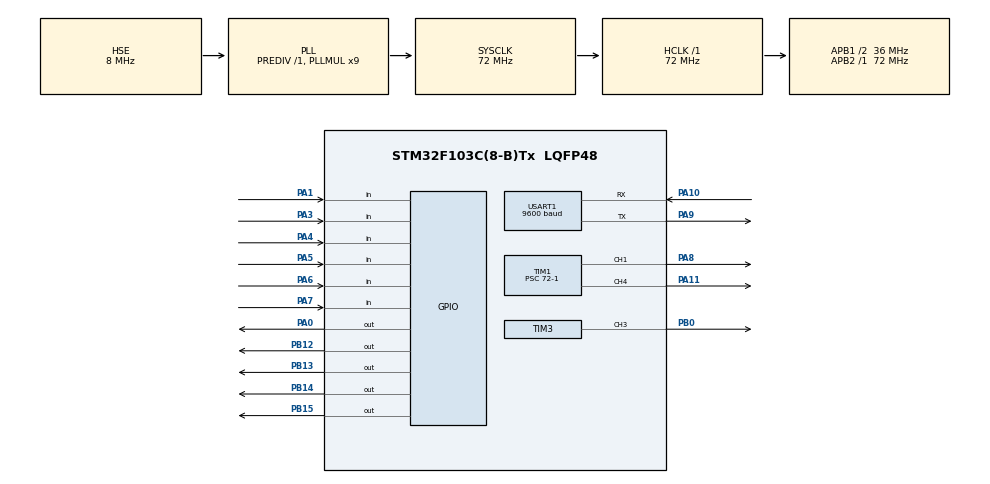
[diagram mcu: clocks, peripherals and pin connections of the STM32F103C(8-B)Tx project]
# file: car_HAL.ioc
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Mcu.Family=STM32F1
Mcu.Name=STM32F103C(8-B)Tx
Mcu.Package=LQFP48
NVIC.PriorityGroup=NVIC_PRIORITYGROUP_4
NVIC.USART1_IRQn=true\:0\:0\:false\:false\:true\:true\:true\:true
PA0-WKUP.Signal=GPIO_Output
PA1.GPIO_PuPd=GPIO_PULLDOWN
PA1.Signal=GPIO_Input
PA10.Mode=Asynchronous
PA10.Signal=USART1_RX
PA11.Signal=S_TIM1_CH4
PA13.Mode=Serial_Wire
PA13.Signal=SYS_JTMS-SWDIO
PA14.Mode=Serial_Wire
PA14.Signal=SYS_JTCK-SWCLK
PA3.GPIO_PuPd=GPIO_PULLUP
PA3.Signal=GPIO_Input
PA4.GPIO_PuPd=GPIO_PULLUP
PA4.Signal=GPIO_Input
PA5.Signal=GPIO_Input
PA6.GPIO_PuPd=GPIO_PULLUP
PA6.Signal=GPIO_Input
PA7.GPIO_PuPd=GPIO_PULLUP
PA7.Signal=GPIO_Input
PA8.Signal=S_TIM1_CH1
PA9.Mode=Asynchronous
PA9.Signal=USART1_TX
PB0.Signal=S_TIM3_CH3
PB12.GPIO_ModeDefaultOutputPP=GPIO_MODE_OUTPUT_PP
PB12.PinState=GPIO_PIN_SET
PB12.Signal=GPIO_Output
PB13.Signal=GPIO_Output
PB14.GPIO_ModeDefaultOutputPP=GPIO_MODE_OUTPUT_PP
PB14.PinState=GPIO_PIN_SET
PB14.Signal=GPIO_Output
PB15.GPIO_ModeDefaultOutputPP=GPIO_MODE_OUTPUT_PP
PB15.PinState=GPIO_PIN_SET
PB15.Signal=GPIO_Output
PD0-OSC_IN.Mode=HSE-External-Oscillator
PD0-OSC_IN.Signal=RCC_OSC_IN
PD1-OSC_OUT.Mode=HSE-External-Oscillator
PD1-OSC_OUT.Signal=RCC_OSC_OUT
ProjectManager.HeapSize=0x200
ProjectManager.StackSize=0x400
ProjectManager.TargetToolchain=MDK-ARM V5.32
RCC.AHBFreq_Value=72000000
RCC.APB1CLKDivider=RCC_HCLK_DIV2
RCC.APB1Freq_Value=36000000
RCC.APB1TimFreq_Value=72000000
RCC.APB2Freq_Value=72000000
RCC.APB2TimFreq_Value=72000000
RCC.HCLKFreq_Value=72000000
RCC.PLLMUL=RCC_PLL_MUL9
RCC.PLLSourceVirtual=RCC_PLLSOURCE_HSE
RCC.SYSCLKFreq_VALUE=72000000
RCC.SYSCLKSource=RCC_SYSCLKSOURCE_PLLCLK
RCC.USBFreq_Value=72000000
SH.S_TIM1_CH1.0=TIM1_CH1,PWM Generation1 CH1
SH.S_TIM1_CH4.0=TIM1_CH4,PWM Generation4 CH4
SH.S_TIM3_CH3.0=TIM3_CH3,PWM Generation3 CH3
TIM1.Channel-PWM\ Generation1\ CH1=TIM_CHANNEL_1
TIM1.Channel-PWM\ Generation4\ CH4=TIM_CHANNEL_4
TIM1.Period=100-1
TIM1.Prescaler=72-1
TIM2.Period=65535
TIM2.Prescaler=72-1
TIM3.Channel-PWM\ Generation3\ CH3=TIM_CHANNEL_3
TIM3.Period=20000-1
TIM3.Prescaler=72-1
USART1.BaudRate=9600
USART1.VirtualMode=VM_ASYNC
VP_TIM1_VS_ClockSourceINT.Mode=Internal
VP_TIM2_VS_ClockSourceINT.Mode=Internal
VP_TIM3_VS_ClockSourceINT.Mode=Internal
board=custom

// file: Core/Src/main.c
/* USER CODE BEGIN Header */
/**
  ******************************************************************************
  * @file           : main.c
  * @brief          : Main program body
  ******************************************************************************
  * @attention
  *
  * Copyright (c) 2025 STMicroelectronics.
  * All rights reserved.
  *
  * This software is licensed under terms that can be found in the LICENSE file
  * in the root directory of this software component.
  * If no LICENSE file comes with this software, it is provided AS-IS.
  *
  ******************************************************************************
  */
/* USER CODE END Header */
#include "main.h"
#include "tim.h"
#include "usart.h"
#include "gpio.h"

/* USER CODE BEGIN Includes */
#include "TB6612.h"
#include "Track.h"
#include "Ultrasound.h"
#include "Servo.h"
#include "oled.h"
#include "string.h"
/* USER CODE END Includes */

/* USER CODE BEGIN PV */
uint8_t mode;		// 0-蓝牙 1-自动避障 2-循迹
char data;
uint8_t rx_flag;
float distance;
uint8_t sensorPattern;
char message[16];
uint8_t mode2_state;
uint8_t area,last_area;
/* USER CODE END PV */

void SystemClock_Config(void);

/* USER CODE BEGIN 0 */
void OLED_Show(void);
/* USER CODE END 0 */

int main(void)
{

  /* MCU Configuration--------------------------------------------------------*/

  /* Reset of all peripherals, Initializes the Flash interface and the Systick. */
  HAL_Init();

  /* Configure the system clock */
  SystemClock_Config();

  /* Initialize all configured peripherals */
  MX_GPIO_Init();
  MX_USART1_UART_Init();
  MX_TIM1_Init();
  MX_TIM2_Init();
  MX_TIM3_Init();
  /* USER CODE BEGIN 2 */
    HAL_UART_Receive_IT(&huart1,(uint8_t *)&data,1);
	OLED_Init();
	TB6612_Init();
	Servo_Init();
	Set_Angle(90);
	mode = 2;
  /* USER CODE END 2 */

  /* Infinite loop */
  while (1)
  {

    /* USER CODE BEGIN 3 */

	  //OLED显示部分
	  OLED_Show();

	  //蓝牙模式
	  if(mode == 0)
	  {
		  if(rx_flag)
		  {
			rx_flag = 0;
			if(data == '0')			TB6612_SetPWM(20,20);		//前进
			else if(data == '1')	TB6612_SetPWM(-20,-20);		//后退
			else if(data == '2')	TB6612_SetPWM(20,50);		//左转
			else if(data == '3')	TB6612_SetPWM(50,20);		//右转
			else if(data == '4')	TB6612_SetPWM(-20,20);		//原地左转
			else if(data == '5')	TB6612_SetPWM(20,-20);		//原地右转
			else if(data == '6')	TB6612_SetPWM(0,0);		//刹车
		  }
	  }

	  //自动避障模式
	  else if(mode == 1)
	  {
		  switch(mode2_state)
		  {
			  case 0:
				  distance = Ultrasound_Get_Distance();//获取距离
				  if(distance >= 5.0f)	TB6612_SetPWM(15,15);//前方无障碍物,直走
				  else	//前方有障碍物
				  {
					  TB6612_SetPWM(0,0);//停车
					  Set_Angle(180);//先向左观察
					  HAL_Delay(400);
					  distance = Ultrasound_Get_Distance();
					  if(distance >= 15.0f)//左边无障碍物,原地左转90°调整方向
					  {
						Set_Angle(90);
						HAL_Delay(400);
						TB6612_SetPWM(-40,40);
						HAL_Delay(500);
						TB6612_SetPWM(0,0);
					  }
					  else//左方有障碍物
					  {
						  TB6612_SetPWM(0,0);//停车
						  Set_Angle(0);//向右观察
						  HAL_Delay(400);
						  distance = Ultrasound_Get_Distance();
						  if(distance >= 15.0f) //右边无障碍物,原地右转90°调整方向
						  {
							Set_Angle(90);
							HAL_Delay(400);
							TB6612_SetPWM(40,-40);
							HAL_Delay(500);
							TB6612_SetPWM(0,0);
						  }
						  else//右方有障碍物 ---> 左中右都有障碍物
						  {
							  Set_Angle(90);//舵机复位
							  HAL_Delay(400);
							  mode2_state = 1;//进入原地等待状态
						  }
					  }
				  }
				  break;
			  case 1:
				  //原地停车,等待前方障碍物移走
				  TB6612_SetPWM(0,0);
				  distance = Ultrasound_Get_Distance();
				  if(distance >= 5.0f)
				  {
					mode2_state = 0;
				  }
				  break;
			  default:
				  break;
		  }
		  HAL_Delay(100);
	  }
	  //循迹模式
	  else if(mode == 2)
	  {
		sensorPattern = Track_Read();
		switch (sensorPattern)
		{
			//----- 基础模式 -----
			case 0x1B: // 0b11011 直线
				TB6612_SetPWM(15,15);
				break;

			//----- 小幅度修正 -----
			case 0x13: // 0b10011 左小转
				TB6612_SetPWM(0,40);
				area = 1;
				break;
			case 0x19: // 0b11001 右小转
				TB6612_SetPWM(40,0);
			    area = 2;
				break;

			//----- 小幅度修正 -----
			case 0x17: // 0b10111 左中转
				TB6612_SetPWM(0,50);//40
				area = 3;
				break;
			case 0x1D: // 0b11101 右中转
				TB6612_SetPWM(50,0);//40
			    area = 4;
				break;

			//----- 中幅度修正 -----
			case 0x07: // 0b00111 左大转
				TB6612_SetPWM(-15,50);
				area = 5;
				break;
			case 0x1C: // 0b11100 右大转
				TB6612_SetPWM(50,-15);
			    area = 6;
				break;

			//----- 大幅度修正 -----
			case 0x0F: // 0b01111 左急转
				TB6612_SetPWM(-25,50);
				area = 7;
				break;
			case 0x1E: // 0b11110 右急转
				TB6612_SetPWM(50,-25);
			    area = 8;
				break;

			//----- 全白处理 -----
			case 0x1F: // 0b11111 全白
				if(last_area == 2)
				{
					TB6612_SetPWM(30,0);
				}
				else if(last_area == 1)
				{
					TB6612_SetPWM(0,30);
				}
				else
				{
					TB6612_SetPWM(0,0);
				}
				break;

			//----- 连续偏转 -----
			//左连续偏转
			case 0x03: // 0b00011
			case 0x05: // 0b00101
				TB6612_SetPWM(-30,40);//-15
				area = 9;
				break;
			//右连续偏转
			case 0x18: // 0b11000
			case 0x1A: // 0b11010
				TB6612_SetPWM(40,-30);
				area = 10;
				break;

			//----- 默认处理 -----
			default:
				TB6612_SetPWM(0,0);
				break;
		}
		last_area = area;
		HAL_Delay(20);
	  }
  }
  /* USER CODE END 3 */
}

void SystemClock_Config(void)
{
  RCC_OscInitTypeDef RCC_OscInitStruct = {0};
  RCC_ClkInitTypeDef RCC_ClkInitStruct = {0};

  /** Initializes the RCC Oscillators according to the specified parameters
  * in the RCC_OscInitTypeDef structure.
  */
  RCC_OscInitStruct.OscillatorType = RCC_OSCILLATORTYPE_HSE;
  RCC_OscInitStruct.HSEState = RCC_HSE_ON;
  RCC_OscInitStruct.HSEPredivValue = RCC_HSE_PREDIV_DIV1;
  RCC_OscInitStruct.HSIState = RCC_HSI_ON;
  RCC_OscInitStruct.PLL.PLLState = RCC_PLL_ON;
  RCC_OscInitStruct.PLL.PLLSource = RCC_PLLSOURCE_HSE;
  RCC_OscInitStruct.PLL.PLLMUL = RCC_PLL_MUL9;
  if (HAL_RCC_OscConfig(&RCC_OscInitStruct) != HAL_OK)
  {
    Error_Handler();
  }

  /** Initializes the CPU, AHB and APB buses clocks
  */
  RCC_ClkInitStruct.ClockType = RCC_CLOCKTYPE_HCLK|RCC_CLOCKTYPE_SYSCLK
                              |RCC_CLOCKTYPE_PCLK1|RCC_CLOCKTYPE_PCLK2;
  RCC_ClkInitStruct.SYSCLKSource = RCC_SYSCLKSOURCE_PLLCLK;
  RCC_ClkInitStruct.AHBCLKDivider = RCC_SYSCLK_DIV1;
  RCC_ClkInitStruct.APB1CLKDivider = RCC_HCLK_DIV2;
  RCC_ClkInitStruct.APB2CLKDivider = RCC_HCLK_DIV1;

  if (HAL_RCC_ClockConfig(&RCC_ClkInitStruct, FLASH_LATENCY_2) != HAL_OK)
  {
    Error_Handler();
  }
}

/* USER CODE BEGIN 4 */
void HAL_UART_RxCpltCallback(UART_HandleTypeDef *huart)
{
	if(huart == &huart1)
	{
		//模式切换指令
		if(data - '0' >= 7)
		{
			if(data == '7')						mode = 0;
			else if(data == '8')				mode = 1;
			else if(data == '9')				mode = 2;
			OLED_Clear();//每次切换模式要清屏显示
		}
		else	//行进方向指令
		{
			//确保在蓝牙模式下才能无线控制小车
			if(mode == 0)	rx_flag = 1;	//接收标志位置1,在while中处理
		}
		HAL_UART_Receive_IT(&huart1,(uint8_t *)&data,1);
	}
}

void OLED_Show(void)
{
	OLED_ShowString(0,0,(uint8_t *)"mode:",16,1);
	if(mode == 0)
	{
		OLED_ShowString(40,0,(uint8_t *)"Bluetooth",16,1);
		if(data - '0' >= 0 && data - '0' <= 9)
		{
			sprintf(message,"data:%c   ",data);
		}
		else
		{
			sprintf(message,"data:Null");
		}
		OLED_ShowString(0,16,(uint8_t *)message,16,1);
	}
	else if(mode == 1)
	{
		OLED_ShowString(40,0,(uint8_t *)"Auto avoid",16,1);
		sprintf(message,"Dis:%.2fcm",distance);
		OLED_ShowString(0,16,(uint8_t *)message,16,1);
	}
	else if(mode == 2)
	{
		OLED_ShowString(40,0,(uint8_t *)"Trace",16,1);
		sprintf(message,"%d-%d-%d-%d-%d",SensorState[0],SensorState[1],SensorState[2],SensorState[3],SensorState[4]);
		OLED_ShowString(0,16,(uint8_t *)message,16,1);
	}
	OLED_Refresh();
}

/* USER CODE END 4 */

void Error_Handler(void)
{
  __disable_irq();
  while (1)
  {
  }
}
